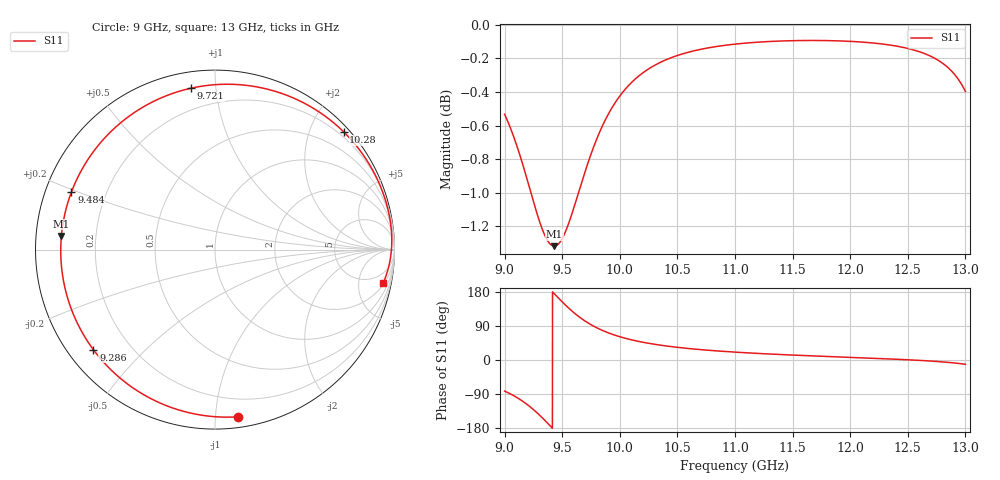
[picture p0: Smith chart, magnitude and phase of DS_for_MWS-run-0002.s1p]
! TOUCHSTONE file generated by CST DESIGN STUDIO
! Date and time: Tue Feb  4 17:59:41 2025
! Project name: C:\Work\MatlabApps\UnitCellOptimizationMatlab\CST\unitcell.cst
! Tree item: Tasks\Sweep1\SPara1\S-Parameters
! Header version: 2024
! Port assignment regex: !\s*Touchstone port\s*([0-9]+)\s*=\s*(CST MWS port|CST DES external port|CST DES block port)\s*(.+)\s* \(\"(.*)\"\)(\s*mode\s*([0-9]+))?.*
! Touchstone port assignment:
! Touchstone port 1 = CST DES external port 1 ("")
# GHz S MA R 50
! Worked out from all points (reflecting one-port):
!   4001 points, 9 GHz to 13 GHz, reference 50 ohm
!   lowest |S11| = -1.3 dB at 9.431 GHz (marker M1), VSWR 13.21, Z = 3.79 + j2.2 ohm
!   phase of S11 starts at -82 deg and turns -289 deg over the sweep
!   S11 on the Smith chart (normalised r, x): 9 GHz: 0.07, -1.15; 9.286 GHz: 0.07, -0.36; 9.484 GHz: 0.08, +0.19; 9.721 GHz: 0.08, +0.86; 10.28 GHz: 0.11, +2.57; 13 GHz: 2.22, -9.56
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9  0.9405 -82.1
9.086  0.9247 -95.3
9.158  0.9086 -109.1
9.223  0.8926 -123.9
9.286  0.8776 -140.5
9.362  0.8638 -163.2
9.397  0.8604 -174.2
9.431  0.8592 174.9
9.484  0.8619 158.2
9.5  0.8637 153.3
9.554  0.8724 137.5
9.607  0.8835 123.4
9.662  0.896 110.5
9.721  0.9091 98.4
9.783  0.9216 87.7
9.856  0.9341 77.1
9.926  0.944 68.8
10  0.9524 61.4
10.13  0.9632 51.2
10.282  0.9717 42.4
10.5  0.9792 33.4
10.723  0.9836 26.8
11  0.9868 20.8
11.5  0.9892 13.0
12  0.9887 6.9
12.5  0.9839 0.6
12.785  0.9749 -4.6
13  0.9554 -11.3
